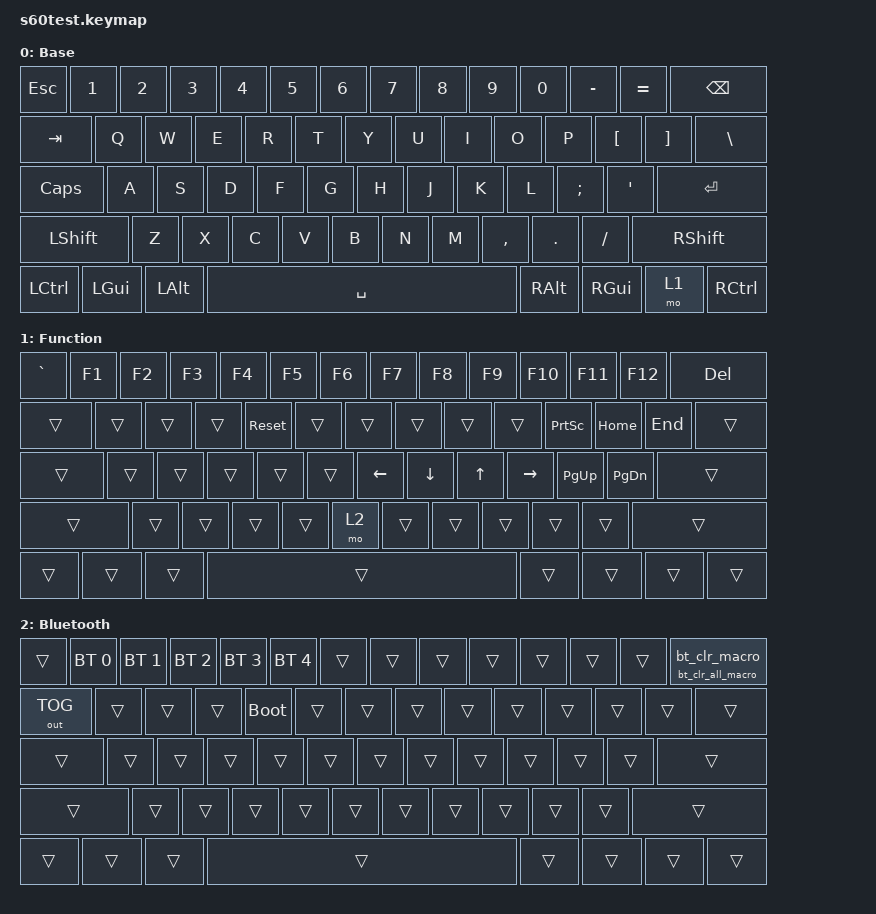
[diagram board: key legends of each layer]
/*
 * Copyright (c) 2025 Team PHDesign
 *
 * SPDX-License-Identifier: MIT
 */

#include <behaviors.dtsi>
#include <dt-bindings/zmk/keys.h>
#include <dt-bindings/zmk/bt.h>
#include <dt-bindings/zmk/outputs.h>

/ {
    behaviors {
        // Macro to clear current BT profile
        bt_clr_macro: bt_clr_macro {
            compatible = "zmk,behavior-macro";
            #binding-cells = <0>;
            bindings = <&bt BT_CLR>;
        };
        
        // Macro to clear all BT profiles
        bt_clr_all_macro: bt_clr_all_macro {
            compatible = "zmk,behavior-macro";
            #binding-cells = <0>;
            bindings = <&bt BT_CLR_ALL>;
        };
        
        // Hold to clear all BT profiles, Tap to clear current
        bt_clr_all: bt_clear_all {
            compatible = "zmk,behavior-hold-tap";
            #binding-cells = <2>;
            flavor = "tap-preferred";
            tapping-term-ms = <2000>;
            bindings = <&bt_clr_all_macro>, <&bt_clr_macro>;
        };
    };

    keymap {
        compatible = "zmk,keymap";

        default_layer {
            display-name = "Base";
            bindings = <
&kp ESC   &kp N1 &kp N2 &kp N3 &kp N4 &kp N5 &kp N6 &kp N7 &kp N8    &kp N9  &kp N0    &kp MINUS &kp EQUAL     &kp BSPC
&kp TAB   &kp Q  &kp W  &kp E  &kp R  &kp T  &kp Y  &kp U  &kp I     &kp O   &kp P     &kp LBKT  &kp RBKT      &kp BSLH
&kp CAPS  &kp A  &kp S  &kp D  &kp F  &kp G  &kp H  &kp J  &kp K     &kp L   &kp SEMI  &kp SQT                 &kp RET
&kp LSHFT        &kp Z  &kp X  &kp C  &kp V  &kp B  &kp N  &kp M     &kp COMMA &kp DOT &kp SLASH               &kp RSHFT
&kp LCTRL &kp LGUI &kp LALT                 &kp SPACE                         &kp RALT  &kp RGUI  &mo 1         &kp RCTRL
            >;
        };

        function_layer {
            display-name = "Function";
            bindings = <
&kp GRAVE &kp F1    &kp F2    &kp F3          &kp F4    &kp F5    &kp F6    &kp F7    &kp F8    &kp F9    &kp F10   &kp F11   &kp F12       &kp DEL
&trans    &trans    &trans    &trans          &sys_reset  &trans  &trans    &trans    &trans    &trans    &kp PSCRN &kp HOME  &kp END       &trans
&trans    &trans    &trans    &trans          &trans      &trans  &kp LEFT  &kp DOWN  &kp UP    &kp RIGHT &kp PG_UP &kp PG_DN               &trans
&trans              &trans    &trans          &trans      &trans  &mo 2     &trans    &trans    &trans    &trans    &trans                  &trans
&trans    &trans    &trans                              &trans                                  &trans    &trans    &trans                  &trans
            >;
        };

        bluetooth_layer {
            display-name = "Bluetooth";
            bindings = <
&trans       &bt BT_SEL 0  &bt BT_SEL 1  &bt BT_SEL 2  &bt BT_SEL 3  &bt BT_SEL 4  &trans  &trans  &trans  &trans  &trans  &trans  &trans  &bt_clr_all 0 0
&out OUT_TOG &trans        &trans        &trans        &bootloader   &trans        &trans  &trans  &trans  &trans  &trans  &trans  &trans  &trans
&trans       &trans        &trans        &trans        &trans        &trans        &trans  &trans  &trans  &trans  &trans  &trans          &trans
&trans                     &trans        &trans        &trans        &trans        &trans  &trans  &trans  &trans  &trans  &trans          &trans
&trans       &trans        &trans                                    &trans                        &trans  &trans  &trans                  &trans
            >;
        };

        extra1 {
            display-name = "Extra 1";
            status = "reserved";
        };

        extra2 {
            display-name = "Extra 2";
            status = "reserved";
        };
    };
};
